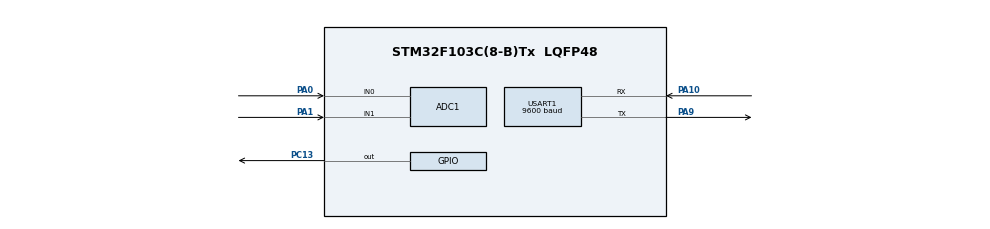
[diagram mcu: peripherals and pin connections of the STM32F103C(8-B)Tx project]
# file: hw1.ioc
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ADC1.Channel-2\#ChannelRegularConversion=ADC_CHANNEL_1
ADC1.ContinuousConvMode=ENABLE
ADC1.NbrOfConversion=2
ADC1.NbrOfConversionFlag=1
ADC1.Rank-2\#ChannelRegularConversion=2
ADC1.SamplingTime-0\#ChannelRegularConversion=ADC_SAMPLETIME_239CYCLES_5
ADC1.SamplingTime-2\#ChannelRegularConversion=ADC_SAMPLETIME_239CYCLES_5
ADC1.master=1
Dma.ADC1.0.Direction=DMA_PERIPH_TO_MEMORY
Dma.ADC1.0.Instance=DMA1_Channel1
Dma.ADC1.0.MemDataAlignment=DMA_MDATAALIGN_HALFWORD
Dma.ADC1.0.MemInc=DMA_MINC_ENABLE
Dma.ADC1.0.Mode=DMA_CIRCULAR
Dma.ADC1.0.PeriphDataAlignment=DMA_PDATAALIGN_HALFWORD
Dma.ADC1.0.PeriphInc=DMA_PINC_DISABLE
Dma.ADC1.0.Priority=DMA_PRIORITY_LOW
Dma.Request0=ADC1
Mcu.Family=STM32F1
Mcu.Name=STM32F103C(8-B)Tx
Mcu.Package=LQFP48
NVIC.DMA1_Channel1_IRQn=true\:0\:0\:false\:false\:true\:false\:true\:true
NVIC.PriorityGroup=NVIC_PRIORITYGROUP_4
PA0-WKUP.GPIO_Mode=GPIO_MODE_ANALOG
PA0-WKUP.Signal=ADCx_IN0
PA1.GPIO_Mode=GPIO_MODE_ANALOG
PA1.Signal=ADCx_IN1
PA10.Mode=Asynchronous
PA10.Signal=USART1_RX
PA9.Mode=Asynchronous
PA9.Signal=USART1_TX
PC13-TAMPER-RTC.Signal=GPIO_Output
ProjectManager.HeapSize=0x200
ProjectManager.StackSize=0x400
ProjectManager.TargetToolchain=MDK-ARM V5.32
RCC.APB1Freq_Value=8000000
RCC.APB2Freq_Value=8000000
SH.ADCx_IN0.0=ADC1_IN0,IN0
SH.ADCx_IN1.0=ADC1_IN1,IN1
USART1.BaudRate=9600
USART1.VirtualMode=VM_ASYNC
VP_SYS_VS_ND.Mode=No_Debug
board=custom

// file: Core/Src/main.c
/* USER CODE BEGIN Header */
/**
  ******************************************************************************
  * @file           : main.c
  * @brief          : Main program body
  ******************************************************************************
  * @attention
  *
  * Copyright (c) 2026 STMicroelectronics.
  * All rights reserved.
  *
  * This software is licensed under terms that can be found in the LICENSE file
  * in the root directory of this software component.
  * If no LICENSE file comes with this software, it is provided AS-IS.
  *
  ******************************************************************************
  */
/* USER CODE END Header */
#include "main.h"

/* USER CODE BEGIN Includes */
#include "stdio.h"
#include "string.h"
#include <stdlib.h>
/* USER CODE END Includes */

/* USER CODE BEGIN PD */
#define bien_ap 311
#define tai 100
#define nguon 220
/* USER CODE END PD */

ADC_HandleTypeDef hadc1;
DMA_HandleTypeDef hdma_adc1;

UART_HandleTypeDef huart1;

/* USER CODE BEGIN PV */
uint16_t adc_buffer[2];
char msg[50];
/* USER CODE END PV */

void SystemClock_Config(void);
static void MX_GPIO_Init(void);
static void MX_DMA_Init(void);
static void MX_ADC1_Init(void);
static void MX_USART1_UART_Init(void);

int main(void)
{

  /* MCU Configuration--------------------------------------------------------*/

  /* Reset of all peripherals, Initializes the Flash interface and the Systick. */
  HAL_Init();

  /* Configure the system clock */
  SystemClock_Config();

  /* Initialize all configured peripherals */
  MX_GPIO_Init();
  MX_DMA_Init();
  MX_ADC1_Init();
  MX_USART1_UART_Init();
  /* USER CODE BEGIN 2 */
	//HAL_ADCEx_Calibration_Start(&hadc1);
	HAL_ADC_Start_DMA(&hadc1, (uint32_t*)adc_buffer, 2);
  /* USER CODE END 2 */

  /* Infinite loop */
  while (1)
  {

    /* USER CODE BEGIN 3 */
		HAL_GPIO_TogglePin(GPIOC, GPIO_PIN_13);

		// 1. doc gia tri truc tiep (0-4095) va 0 - 3400
		uint16_t adc_val = adc_buffer[0];
		uint16_t adc_val_current = adc_buffer[1];
		// 2. dich goc ve giua 2048
		int shift_val = (int)adc_val - 2048;
		int shift_current = (int)adc_val_current - 1700;
		// 3. nhan he so --> vol_thuc = -2048x(311/2047) --> 2047x(311/2047) --> k = 311/2047 = 0.152
		// tai = 100 ==> dong ac -2.2 --> 2.2
		int vol_thuc = (float)shift_val * (float)bien_ap/2047*1000/1000;
		float current_thuc = (float)shift_current * (float)(nguon/tai)/1700*1000/1000;
		int phan_nguyen = (int)current_thuc;
		int phan_du = abs((int)((current_thuc - phan_nguyen) * 100));
		sprintf(msg, "%d, %d.%d\n\r", vol_thuc, phan_nguyen, phan_du);
    HAL_UART_Transmit(&huart1, (uint8_t*)msg, strlen(msg), 100);
    HAL_Delay(20);
  }
  /* USER CODE END 3 */
}

void SystemClock_Config(void)
{
  RCC_OscInitTypeDef RCC_OscInitStruct = {0};
  RCC_ClkInitTypeDef RCC_ClkInitStruct = {0};
  RCC_PeriphCLKInitTypeDef PeriphClkInit = {0};

  /** Initializes the RCC Oscillators according to the specified parameters
  * in the RCC_OscInitTypeDef structure.
  */
  RCC_OscInitStruct.OscillatorType = RCC_OSCILLATORTYPE_HSI;
  RCC_OscInitStruct.HSIState = RCC_HSI_ON;
  RCC_OscInitStruct.HSICalibrationValue = RCC_HSICALIBRATION_DEFAULT;
  RCC_OscInitStruct.PLL.PLLState = RCC_PLL_NONE;
  if (HAL_RCC_OscConfig(&RCC_OscInitStruct) != HAL_OK)
  {
    Error_Handler();
  }

  /** Initializes the CPU, AHB and APB buses clocks
  */
  RCC_ClkInitStruct.ClockType = RCC_CLOCKTYPE_HCLK|RCC_CLOCKTYPE_SYSCLK
                              |RCC_CLOCKTYPE_PCLK1|RCC_CLOCKTYPE_PCLK2;
  RCC_ClkInitStruct.SYSCLKSource = RCC_SYSCLKSOURCE_HSI;
  RCC_ClkInitStruct.AHBCLKDivider = RCC_SYSCLK_DIV1;
  RCC_ClkInitStruct.APB1CLKDivider = RCC_HCLK_DIV1;
  RCC_ClkInitStruct.APB2CLKDivider = RCC_HCLK_DIV1;

  if (HAL_RCC_ClockConfig(&RCC_ClkInitStruct, FLASH_LATENCY_0) != HAL_OK)
  {
    Error_Handler();
  }
  PeriphClkInit.PeriphClockSelection = RCC_PERIPHCLK_ADC;
  PeriphClkInit.AdcClockSelection = RCC_ADCPCLK2_DIV2;
  if (HAL_RCCEx_PeriphCLKConfig(&PeriphClkInit) != HAL_OK)
  {
    Error_Handler();
  }
}

static void MX_ADC1_Init(void)
{

  ADC_ChannelConfTypeDef sConfig = {0};

  /** Common config
  */
  hadc1.Instance = ADC1;
  hadc1.Init.ScanConvMode = ADC_SCAN_ENABLE;
  hadc1.Init.ContinuousConvMode = ENABLE;
  hadc1.Init.DiscontinuousConvMode = DISABLE;
  hadc1.Init.ExternalTrigConv = ADC_SOFTWARE_START;
  hadc1.Init.DataAlign = ADC_DATAALIGN_RIGHT;
  hadc1.Init.NbrOfConversion = 2;
  if (HAL_ADC_Init(&hadc1) != HAL_OK)
  {
    Error_Handler();
  }

  /** Configure Regular Channel
  */
  sConfig.Channel = ADC_CHANNEL_0;
  sConfig.Rank = ADC_REGULAR_RANK_1;
  sConfig.SamplingTime = ADC_SAMPLETIME_239CYCLES_5;
  if (HAL_ADC_ConfigChannel(&hadc1, &sConfig) != HAL_OK)
  {
    Error_Handler();
  }

  /** Configure Regular Channel
  */
  sConfig.Channel = ADC_CHANNEL_1;
  sConfig.Rank = ADC_REGULAR_RANK_2;
  if (HAL_ADC_ConfigChannel(&hadc1, &sConfig) != HAL_OK)
  {
    Error_Handler();
  }

}

static void MX_USART1_UART_Init(void)
{

  huart1.Instance = USART1;
  huart1.Init.BaudRate = 9600;
  huart1.Init.WordLength = UART_WORDLENGTH_8B;
  huart1.Init.StopBits = UART_STOPBITS_1;
  huart1.Init.Parity = UART_PARITY_NONE;
  huart1.Init.Mode = UART_MODE_TX_RX;
  huart1.Init.HwFlowCtl = UART_HWCONTROL_NONE;
  huart1.Init.OverSampling = UART_OVERSAMPLING_16;
  if (HAL_UART_Init(&huart1) != HAL_OK)
  {
    Error_Handler();
  }

}

static void MX_DMA_Init(void)
{

  /* DMA controller clock enable */
  __HAL_RCC_DMA1_CLK_ENABLE();

  /* DMA interrupt init */
  /* DMA1_Channel1_IRQn interrupt configuration */
  //HAL_NVIC_SetPriority(DMA1_Channel1_IRQn, 0, 0);
  //HAL_NVIC_EnableIRQ(DMA1_Channel1_IRQn);

}

static void MX_GPIO_Init(void)
{
  GPIO_InitTypeDef GPIO_InitStruct = {0};

  /* GPIO Ports Clock Enable */
  __HAL_RCC_GPIOC_CLK_ENABLE();
  __HAL_RCC_GPIOA_CLK_ENABLE();

  /*Configure GPIO pin Output Level */
  HAL_GPIO_WritePin(GPIOC, GPIO_PIN_13, GPIO_PIN_RESET);

  /*Configure GPIO pin : PC13 */
  GPIO_InitStruct.Pin = GPIO_PIN_13;
  GPIO_InitStruct.Mode = GPIO_MODE_OUTPUT_PP;
  GPIO_InitStruct.Pull = GPIO_NOPULL;
  GPIO_InitStruct.Speed = GPIO_SPEED_FREQ_LOW;
  HAL_GPIO_Init(GPIOC, &GPIO_InitStruct);

}

void Error_Handler(void)
{
  __disable_irq();
  while (1)
  {
  }
}
